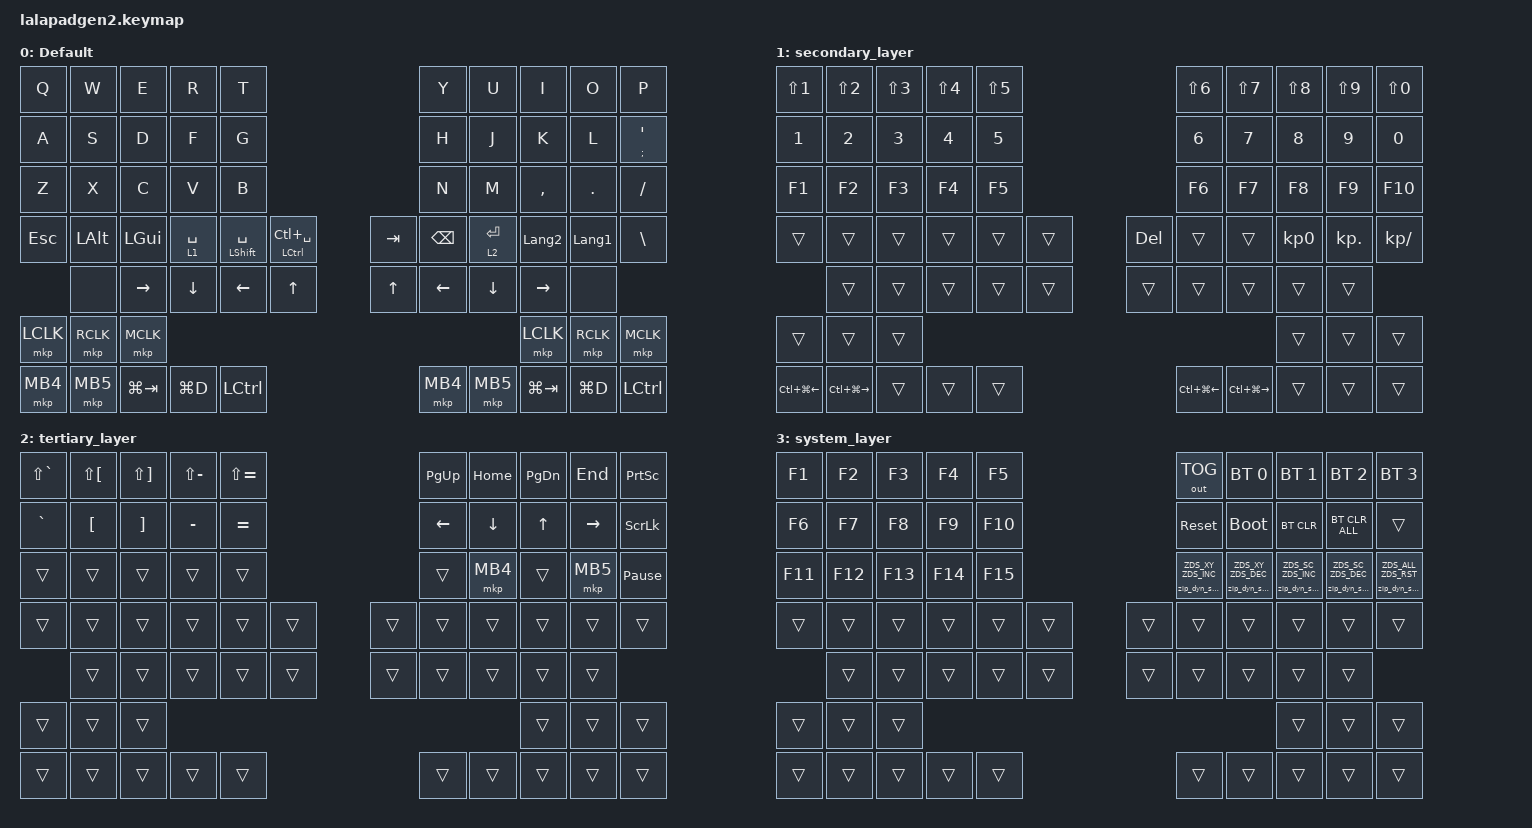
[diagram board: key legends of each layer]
#include <input/processors.dtsi>
#include <dt-bindings/zmk/zip_dynamic_scale.h>
#include <behaviors.dtsi>
#include <dt-bindings/zmk/bt.h>
#include <dt-bindings/zmk/keys.h>
#include <dt-bindings/zmk/outputs.h>
#include <dt-bindings/zmk/pointing.h>

#define DEFAULT_LAYER   0
#define SECONDARY_LAYER 1
#define TERTIARY_LAYER  2
#define SYSTEM_LAYER    3

&mt { quick-tap-ms = <200>; };

&lt { quick-tap-ms = <200>; };

/ {
    behaviors {
        zip_dyn_scale: zip_dyn_scale {
            compatible = "zmk,behavior-zip-dynamic-scale";
            #binding-cells = <2>;
        };

        zip_dyn_scale_set: zip_dyn_scale_set {
            compatible = "zmk,behavior-zip-dynamic-scale-set";
            #binding-cells = <2>;
        };

        mt2: mod_tap2 {
            compatible = "zmk,behavior-hold-tap";
            #binding-cells = <2>;
            flavor = "tap-preferred";
            tapping-term-ms = <200>;
            quick-tap-ms = <200>;
            require-prior-idle-ms = <125>;
            bindings = <&kp>, <&kp>;
        };

        tap_dance_layer_1and2: tap_dance_layer_1and2 {
            compatible = "zmk,behavior-tap-dance";
            label = "td_mo12";
            #binding-cells = <0>;
            bindings = <&mo 1>, <&mo 2>;
        };
    };

    combos { compatible = "zmk,combos"; };

    keymap {
        compatible = "zmk,keymap";

        DEFAULT_LAYER {
            display-name = "Default";
            bindings = <
&kp Q       &kp W         &kp E         &kp R        &kp T                                                      &kp Y          &kp U        &kp I           &kp O           &kp P
&kp A       &kp S         &kp D         &kp F        &kp G                                                      &kp H          &kp J        &kp K           &kp L           &mt2 SEMICOLON SQT
&kp Z       &kp X         &kp C         &kp V        &kp B                                                      &kp N          &kp M        &kp COMMA       &kp PERIOD      &kp SLASH
&kp ESCAPE  &kp LEFT_ALT  &kp LEFT_GUI  &lt 1 SPACE  &mt LEFT_SHIFT SPACE  &mt LEFT_CONTROL LC(SPACE)  &kp TAB  &kp BACKSPACE  &lt 2 ENTER  &kp LANGUAGE_2  &kp LANGUAGE_1  &kp BACKSLASH
            &none         &kp RIGHT     &kp DOWN     &kp LEFT              &kp UP                      &kp UP   &kp LEFT       &kp DOWN     &kp RIGHT       &none
&mkp LCLK   &mkp RCLK     &mkp MCLK                                                                                                         &mkp LCLK       &mkp RCLK       &mkp MCLK
&mkp MB4    &mkp MB5      &kp LG(TAB)   &kp LG(D)    &kp LCTRL                                                  &mkp MB4       &mkp MB5     &kp LG(TAB)     &kp LG(D)       &kp LCTRL
            >;
        };

        SECONDARY_LAYER {
            display-name = "secondary_layer";
            bindings = <
&kp LS(NUMBER_1)  &kp LS(NUMBER_2)   &kp LS(NUMBER_3)  &kp LS(NUMBER_4)  &kp LS(N5)                   &kp LS(NUMBER_6)  &kp LS(N7)         &kp LS(N8)       &kp LS(N9)  &kp LS(N0)
&kp NUMBER_1      &kp NUMBER_2       &kp NUMBER_3      &kp NUMBER_4      &kp N5                       &kp NUMBER_6      &kp N7             &kp N8           &kp N9      &kp N0
&kp F1            &kp F2             &kp F3            &kp F4            &kp F5                       &kp F6            &kp F7             &kp F8           &kp F9      &kp F10
&trans            &trans             &trans            &trans            &trans      &trans  &kp DEL  &trans            &trans             &kp KP_NUMBER_0  &kp KP_DOT  &kp KP_DIVIDE
                  &trans             &trans            &trans            &trans      &trans  &trans   &trans            &trans             &trans           &trans
&trans            &trans             &trans                                                                                                &trans           &trans      &trans
&kp LC(LG(LEFT))  &kp LC(LG(RIGHT))  &trans            &trans            &trans                       &kp LC(LG(LEFT))  &kp LC(LG(RIGHT))  &trans           &trans      &trans
            >;
        };

        TERTIARY_LAYER {
            display-name = "tertiary_layer";
            bindings = <
&kp LS(GRAVE)  &kp LS(LEFT_BRACKET)  &kp LS(RIGHT_BRACKET)  &kp LS(MINUS)  &kp LS(EQUAL)                  &kp PAGE_UP  &kp HOME  &kp PAGE_DOWN  &kp END    &kp PRINTSCREEN
&kp GRAVE      &kp LEFT_BRACKET      &kp RIGHT_BRACKET      &kp MINUS      &kp EQUAL                      &kp LEFT     &kp DOWN  &kp UP         &kp RIGHT  &kp SCROLLLOCK
&trans         &trans                &trans                 &trans         &trans                         &trans       &mkp MB4  &trans         &mkp MB5   &kp PAUSE_BREAK
&trans         &trans                &trans                 &trans         &trans         &trans  &trans  &trans       &trans    &trans         &trans     &trans
               &trans                &trans                 &trans         &trans         &trans  &trans  &trans       &trans    &trans         &trans
&trans         &trans                &trans                                                                                      &trans         &trans     &trans
&trans         &trans                &trans                 &trans         &trans                         &trans       &trans    &trans         &trans     &trans
            >;
        };

        SYSTEM_LAYER {
            display-name = "system_layer";
            bindings = <
&kp F1   &kp F2   &kp F3   &kp F4   &kp F5                   &out OUT_TOG                   &bt BT_SEL 0                   &bt BT_SEL 1                   &bt BT_SEL 2                   &bt BT_SEL 3
&kp F6   &kp F7   &kp F8   &kp F9   &kp F10                  &sys_reset                     &bootloader                    &bt BT_CLR                     &bt BT_CLR_ALL                 &trans
&kp F11  &kp F12  &kp F13  &kp F14  &kp F15                  &zip_dyn_scale ZDS_XY ZDS_INC  &zip_dyn_scale ZDS_XY ZDS_DEC  &zip_dyn_scale ZDS_SC ZDS_INC  &zip_dyn_scale ZDS_SC ZDS_DEC  &zip_dyn_scale ZDS_ALL ZDS_RST
&trans   &trans   &trans   &trans   &trans   &trans  &trans  &trans                         &trans                         &trans                         &trans                         &trans
         &trans   &trans   &trans   &trans   &trans  &trans  &trans                         &trans                         &trans                         &trans
&trans   &trans   &trans                                                                                                   &trans                         &trans                         &trans
&trans   &trans   &trans   &trans   &trans                   &trans                         &trans                         &trans                         &trans                         &trans
            >;
        };
    };

    conditional_layers {
        compatible = "zmk,conditional-layers";

        Cond_Syslayer {
            if-layers = <1 2>;
            then-layer = <3>;
        };
    };
};
